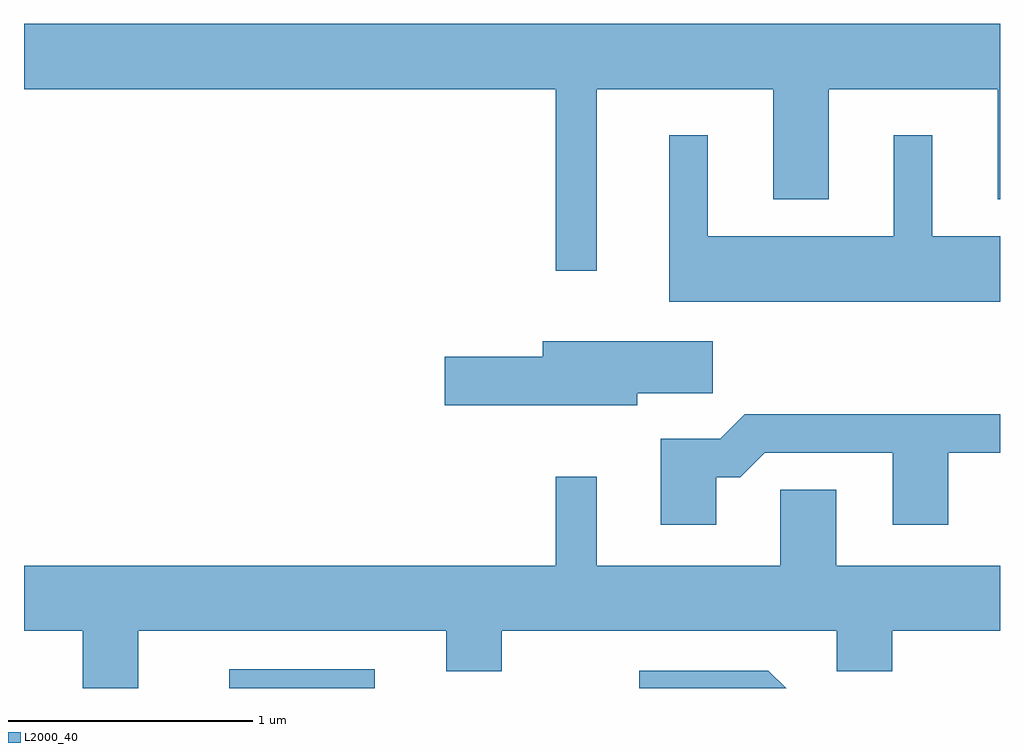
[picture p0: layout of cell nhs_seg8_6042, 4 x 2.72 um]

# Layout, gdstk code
import gdstk
lib = gdstk.Library(unit=1e-6, precision=1e-09)
def R(c, l, rs):  # rectangles x0, y0, x1, y1
    for r in rs: c.add(gdstk.rectangle(r[:2], r[2:], *l))
def P(c, l, *ps):  # polygons
    for p in ps: c.add(gdstk.Polygon(p, *l))
L2000_40 = (2000, 40)

nhs_seg8_6042 = lib.new_cell('nhs_seg8_6042')
R(nhs_seg8_6042, L2000_40, [(366.453,1898.342,367.049,1898.419)])
P(nhs_seg8_6042, L2000_40, [(367.959,1900.796),(368.681,1900.796),(368.681,1900.346),(368.909,1900.346),(368.909,1900.796),(369.601,1900.796),(369.601,1900.346),(369.611,1900.346),(369.611,1901.064),(365.611,1901.064),(365.611,1900.796),(367.791,1900.796),(367.791,1900.053),(367.959,1900.053)],
  [(369.611,1900.194),(369.334,1900.194),(369.334,1900.608),(369.176,1900.608),(369.176,1900.194),(368.414,1900.194),(368.414,1900.608),(368.256,1900.608),(368.256,1899.926),(369.611,1899.926)],
  [(368.124,1899.551),(368.434,1899.551),(368.434,1899.764),(367.736,1899.764),(367.736,1899.699),(367.336,1899.699),(367.336,1899.501),(368.124,1899.501)],
  [(368.449,1899.206),(368.547,1899.206),(368.647,1899.306),(369.171,1899.306),(369.171,1899.011),(369.399,1899.011),(369.399,1899.306),(369.611,1899.306),(369.611,1899.464),(368.564,1899.464),(368.464,1899.364),(368.221,1899.364),(368.221,1899.011),(368.449,1899.011)],
  [(366.079,1898.576),(367.341,1898.576),(367.341,1898.411),(367.569,1898.411),(367.569,1898.576),(368.941,1898.576),(368.941,1898.411),(369.169,1898.411),(369.169,1898.576),(369.611,1898.576),(369.611,1898.844),(368.939,1898.844),(368.939,1899.154),(368.711,1899.154),(368.711,1898.844),(367.959,1898.844),(367.959,1899.208),(367.791,1899.208),(367.791,1898.844),(365.611,1898.844),(365.611,1898.576),(365.851,1898.576),(365.851,1898.342),(366.079,1898.342)],
  [(368.662,1898.414),(368.133,1898.414),(368.133,1898.342),(368.734,1898.342)])

lib.write_gds('nhs_seg8_6042.gds')
